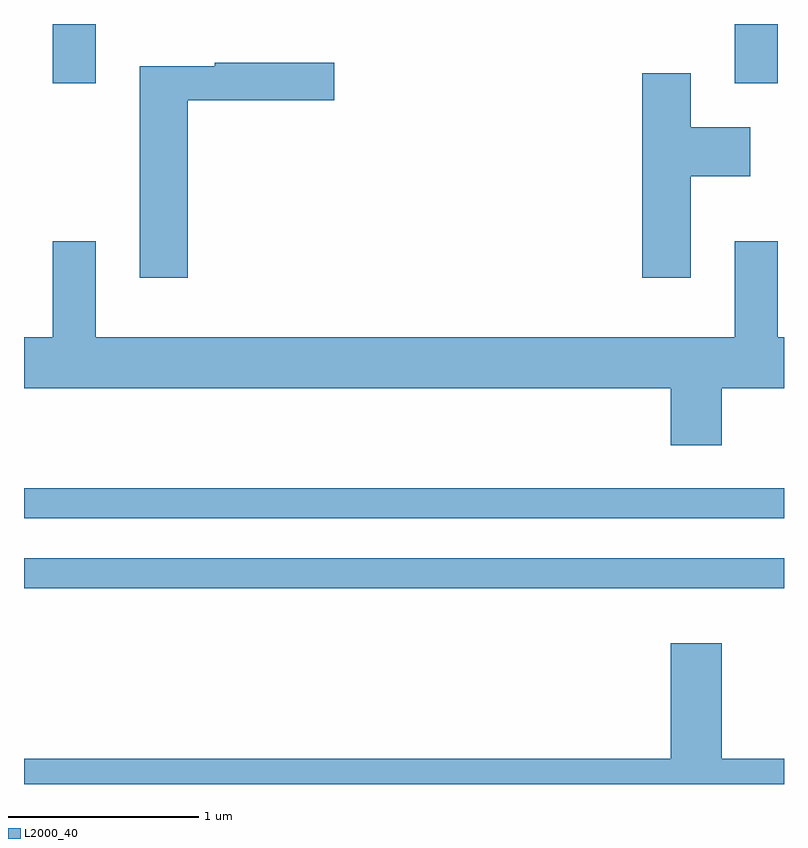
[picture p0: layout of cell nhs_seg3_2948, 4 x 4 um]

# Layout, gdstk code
import gdstk
lib = gdstk.Library(unit=1e-6, precision=1e-09)
def R(c, l, rs):  # rectangles x0, y0, x1, y1
    for r in rs: c.add(gdstk.rectangle(r[:2], r[2:], *l))
def P(c, l, *ps):  # polygons
    for p in ps: c.add(gdstk.Polygon(p, *l))
L2000_40 = (2000, 40)

nhs_seg3_2948 = lib.new_cell('nhs_seg3_2948')
R(nhs_seg3_2948, L2000_40, [(271.611,1164.921,275.611,1165.079), (271.611,1165.291,275.611,1165.449), (271.761,1167.581,271.989,1167.892), (275.351,1167.581,275.579,1167.892)])
P(nhs_seg3_2948, L2000_40, [(272.474,1167.491),(273.244,1167.491),(273.244,1167.689),(272.616,1167.689),(272.616,1167.669),(272.221,1167.669),(272.221,1166.556),(272.474,1166.556)],
  [(275.119,1167.091),(275.434,1167.091),(275.434,1167.349),(275.119,1167.349),(275.119,1167.634),(274.866,1167.634),(274.866,1166.556),(275.119,1166.556)],
  [(275.284,1165.976),(275.611,1165.976),(275.611,1166.244),(275.579,1166.244),(275.579,1166.749),(275.351,1166.749),(275.351,1166.244),(271.989,1166.244),(271.989,1166.749),(271.761,1166.749),(271.761,1166.244),(271.611,1166.244),(271.611,1165.976),(275.016,1165.976),(275.016,1165.676),(275.284,1165.676)],
  [(275.611,1164.024),(275.284,1164.024),(275.284,1164.634),(275.016,1164.634),(275.016,1164.024),(271.611,1164.024),(271.611,1163.892),(275.611,1163.892)])

lib.write_gds('nhs_seg3_2948.gds')
